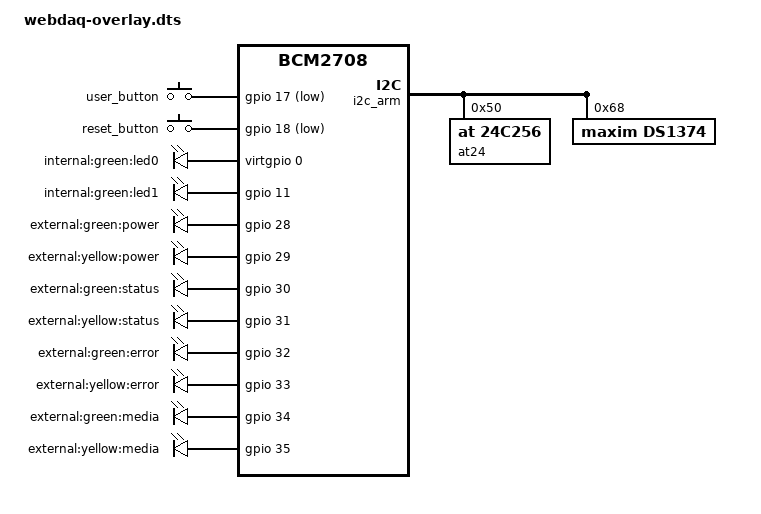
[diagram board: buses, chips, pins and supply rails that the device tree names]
/dts-v1/;
/plugin/;

/ {
    compatible = "brcm,bcm2708";

    fragment@0 {
        target-path = "/";
        __overlay__ {
            buttons: buttons {
                compatible = "gpio-keys";
                #autorepeat;
                #address-cells = <1>;
                #size-cells = <0>;
                status = "okay";
                user_button {
                    label = "user_button";
                    linux,code = <30>;      /* KEY_A */
                    gpios = <&gpio 17 1>;  /* active low */
                };
                reset_button {
                    label = "reset_button";
                    linux,code = <48>;      /* KEY_B */
                    gpios = <&gpio 18 1>;  /* active low */
                };
            };
        };
    };

    fragment@1 {
        target-path = "/";
        __overlay__ {
            virtgpio: virtgpio {
                compatible = "brcm,bcm2835-virtgpio";
                gpio-controller;
                #gpio-cells = <2>;
                firmware = <&firmware>;
                status = "okay";
            };
        };
    };    

    fragment@2 {
        target = <&gpio>;
        __overlay__ {
            eeprom_wp_pin: eeprom_wp_pin {
                brcm,pins = <6>;
                brcm,function = <0>; /* input */
                brcm,pull = <0>;    /* none */
            };

            power_ctrl_pin: power_ctrl_pin {
                brcm,pins = <4>;
                brcm,function = <1>; /* output */
                brcm,pull = <0>; /* none */
            };

            power_button_pin: power_button_pin {
                brcm,pins = <16>;
                brcm,function = <0>; /* input */
                brcm,pull = <0>;    /* none */
            };

            button1_pin: button1_pin {
                brcm,pins = <17>;
                brcm,function = <0>; /* input */
                brcm,pull = <0>;    /* none */
            };

            resetbutton_pin: resetbutton_pin {
                brcm,pins = <18>;
                brcm,function = <0>; /* input */
                brcm,pull = <0>;    /* none */
            };
        };
    };

    fragment@3 {
        target = <&leds>;
        __overlay__ {
            int_led0: int_led0 {
                label = "internal:green:led0";
                linux,default-trigger = "mmc0";
                gpios = <&virtgpio 0 0>;
            };
            int_led1: int_led1 {
                label = "internal:green:led1";
                linux,default-trigger = "mmc1";
                gpios = <&gpio 11 0>;
            };
            power_led_green: power_led_green {
                label = "external:green:power";
                linux,default-trigger = "none";
                gpios = <&gpio 28 0>;
            };
            power_led_yellow: power_led_yellow {
                label = "external:yellow:power";
                linux,default-trigger = "default-on";
                gpios = <&gpio 29 0>;
            };
            status_led_green: status_led_green {
                label = "external:green:status";
                linux,default-trigger = "none";
                gpios = <&gpio 30 0>;
            };
            status_led_yellow: status_led_yellow {
                label = "external:yellow:status";
                linux,default-trigger = "none";
                gpios = <&gpio 31 0>;
            };
            error_led_green: error_led_green {
                label = "external:green:error";
                linux,default-trigger = "none";
                gpios = <&gpio 32 0>;
            };
            error_led_yellow: error_led_yellow {
                label = "external:yellow:error";
                linux,default-trigger = "none";
                gpios = <&gpio 33 0>;
            };
            media_led_green: media_led_green {
                label = "external:green:media";
                linux,default-trigger = "none";
                gpios = <&gpio 34 0>;
            };
            media_led_yellow: media_led_yellow {
                label = "external:yellow:media";
                linux,default-trigger = "none";
                gpios = <&gpio 35 0>;
            };
        };
    };
    
    fragment@4 {
        target = <&i2c_arm>;
        __overlay__ {
            #address-cells = <1>;
            #size-cells = <0>;
            status = "okay";

            at24@50 {
                compatible = "at,24c256";
                pagesize = <64>;
                reg = <0x50>;
                status = "okay";
            };

            ds1374: ds1374@68 {
                compatible = "maxim,ds1374";
                reg = <0x68>;
                status = "okay";
            };
        };
    };

    __overrides__ {
        
    };
};

